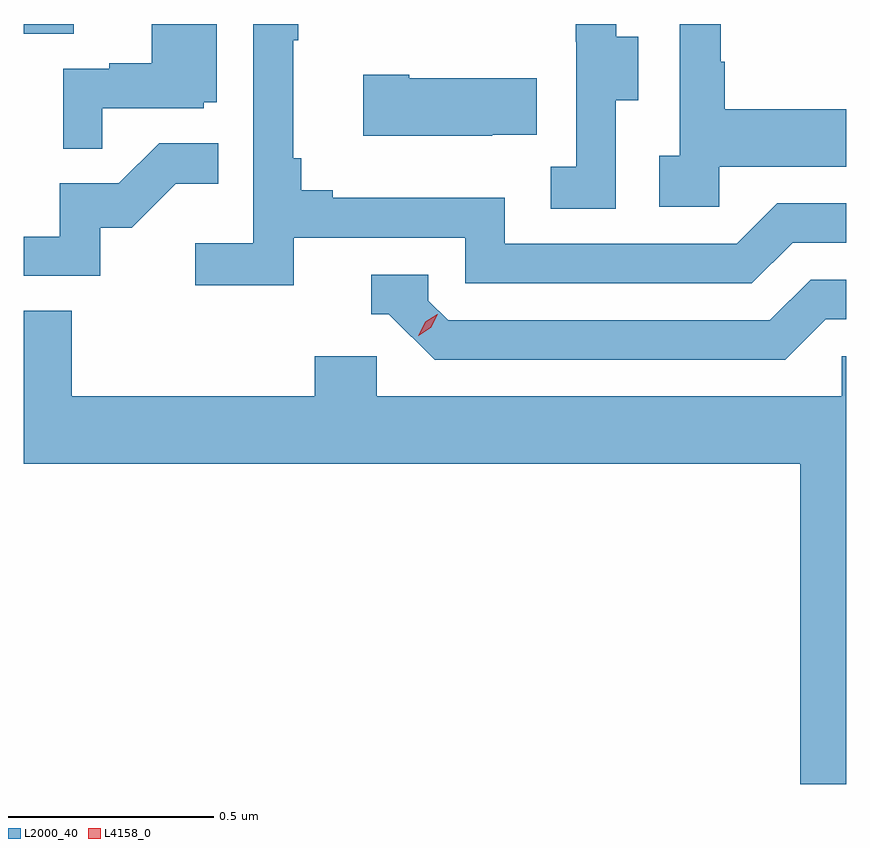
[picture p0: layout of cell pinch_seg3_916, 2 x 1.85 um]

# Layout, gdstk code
import gdstk
lib = gdstk.Library(unit=1e-6, precision=1e-09)
def R(c, l, rs):  # rectangles x0, y0, x1, y1
    for r in rs: c.add(gdstk.rectangle(r[:2], r[2:], *l))
def P(c, l, *ps):  # polygons
    for p in ps: c.add(gdstk.Polygon(p, *l))
L2000_40 = (2000, 40)
L4158_0 = (4158, 0)

pinch_seg3_916 = lib.new_cell('pinch_seg3_916')
R(pinch_seg3_916, L2000_40, [(868.56,704.626,868.681,704.65)])
P(pinch_seg3_916, L2000_40, [(869.216,704.13),(869.634,704.13),(869.634,704.019),(870.331,704.019),(870.43,704.118),(870.56,704.118),(870.56,704.214),(870.393,704.214),(870.294,704.115),(869.73,704.115),(869.73,704.227),(869.311,704.227),(869.311,704.246),(869.234,704.246),(869.234,704.323),(869.215,704.323),(869.215,704.611),(869.227,704.611),(869.227,704.65),(869.118,704.65),(869.118,704.116),(868.977,704.116),(868.977,704.014),(869.216,704.014)],
  [(870,704.464),(870.055,704.464),(870.055,704.619),(870.001,704.619),(870.001,704.65),(869.903,704.65),(869.903,704.607),(869.904,704.607),(869.904,704.303),(869.841,704.303),(869.841,704.2),(870,704.2)],
  [(870.252,704.303),(870.56,704.303),(870.56,704.443),(870.265,704.443),(870.265,704.558),(870.255,704.558),(870.255,704.65),(870.156,704.65),(870.156,704.33),(870.105,704.33),(870.105,704.205),(870.252,704.205)],
  [(868.751,704.445),(868.998,704.445),(868.998,704.46),(869.029,704.46),(869.029,704.65),(868.871,704.65),(868.871,704.554),(868.767,704.554),(868.767,704.541),(868.656,704.541),(868.656,704.347),(868.751,704.347)],
  [(869.699,704.381),(869.807,704.381),(869.807,704.518),(869.497,704.518),(869.497,704.526),(869.385,704.526),(869.385,704.378),(869.699,704.378)],
  [(868.746,704.154),(868.822,704.154),(868.929,704.261),(869.033,704.261),(869.033,704.36),(868.889,704.36),(868.791,704.262),(868.647,704.262),(868.647,704.133),(868.56,704.133),(868.56,704.037),(868.746,704.037)],
  [(870.511,703.932),(870.56,703.932),(870.56,704.028),(870.474,704.028),(870.375,703.929),(869.592,703.929),(869.544,703.977),(869.544,704.04),(869.405,704.04),(869.405,703.944),(869.448,703.944),(869.559,703.833),(870.412,703.833)],
  [(870.56,703.842),(870.549,703.842),(870.549,703.744),(869.418,703.744),(869.418,703.842),(869.267,703.842),(869.267,703.744),(868.676,703.744),(868.676,703.952),(868.56,703.952),(868.56,703.58),(870.449,703.58),(870.449,702.801),(870.56,702.801)])
P(pinch_seg3_916, L4158_0, [(869.519,703.892),(869.519,703.892),(869.536,703.925),(869.566,703.944),(869.567,703.944),(869.567,703.944),(869.55,703.911),(869.52,703.892)])

lib.write_gds('pinch_seg3_916.gds')
